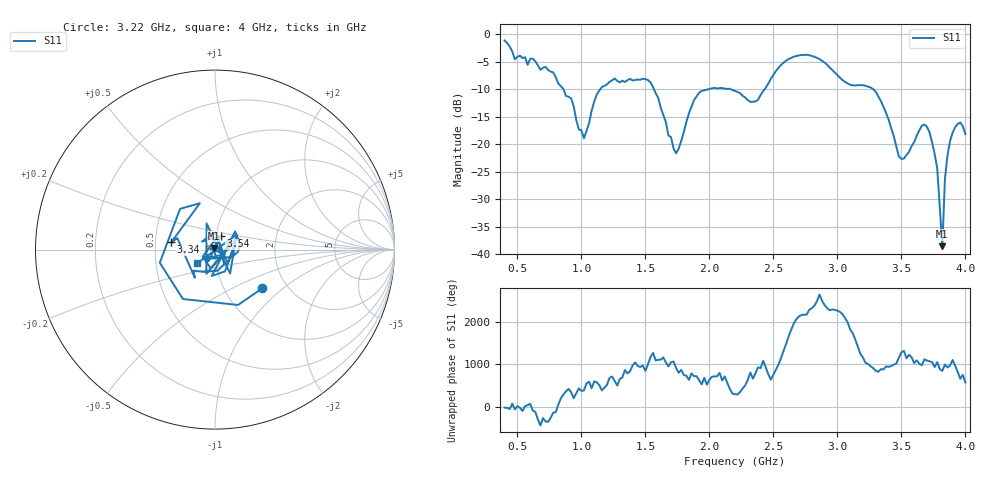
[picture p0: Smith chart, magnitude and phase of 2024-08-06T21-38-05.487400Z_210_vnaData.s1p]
!Created with skrf (http://scikit-rf.org).
# Hz S RI R 50.0
!freq ReS11 ImS11
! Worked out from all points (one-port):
!   181 points, 400 MHz to 4 GHz, reference 50 ohm
!   lowest |S11| = -38.5 dB at 3.82 GHz (marker M1), VSWR 1.02, Z = 49.2 + j0.899 ohm
!   |S11| at or under -10 dB: 860.5 MHz to 1.147 GHz (286.8 MHz wide, 28.6 % of centre); 1.567 GHz to 1.989 GHz (422.4 MHz wide, 23.8 % of centre); 3.28 GHz to end of sweep (the widest 3 of 4)
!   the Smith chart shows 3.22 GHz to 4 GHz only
!   S11 on the Smith chart (normalised r, x): 3.22 GHz: 1.50, -0.73; 3.34 GHz: 0.61, +0.05; 3.54 GHz: 1.05, +0.16; 4 GHz: 0.81, -0.12
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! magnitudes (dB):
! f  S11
! 400 MHz  -1.1
! 480 MHz  -4.6
! 620 MHz  -4.4
! 860 MHz  -10.0
! 1.02 GHz  -18.9
! 1.14 GHz  -10.2
! 1.3 GHz  -8.8
! 1.54 GHz  -8.7
! 1.72 GHz  -20.8
! 1.76 GHz  -20.8
! 1.92 GHz  -10.6
! 2.2 GHz  -10.3
! 2.36 GHz  -12.2
! 2.66 GHz  -4.1
! 3.1 GHz  -9.2
! 3.22 GHz  -9.4
! 3.34 GHz  -12.1
! 3.48 GHz  -22.2
! 3.54 GHz  -21.9
! 3.56 GHz  -21.4
! 3.66 GHz  -16.6
! 3.72 GHz  -17.8
! 3.78 GHz  -24.4
! 3.82 GHz  -38.5
! 3.84 GHz  -26.3
! 3.88 GHz  -19.4
! 3.96 GHz  -16.0
! 4 GHz  -18.1
